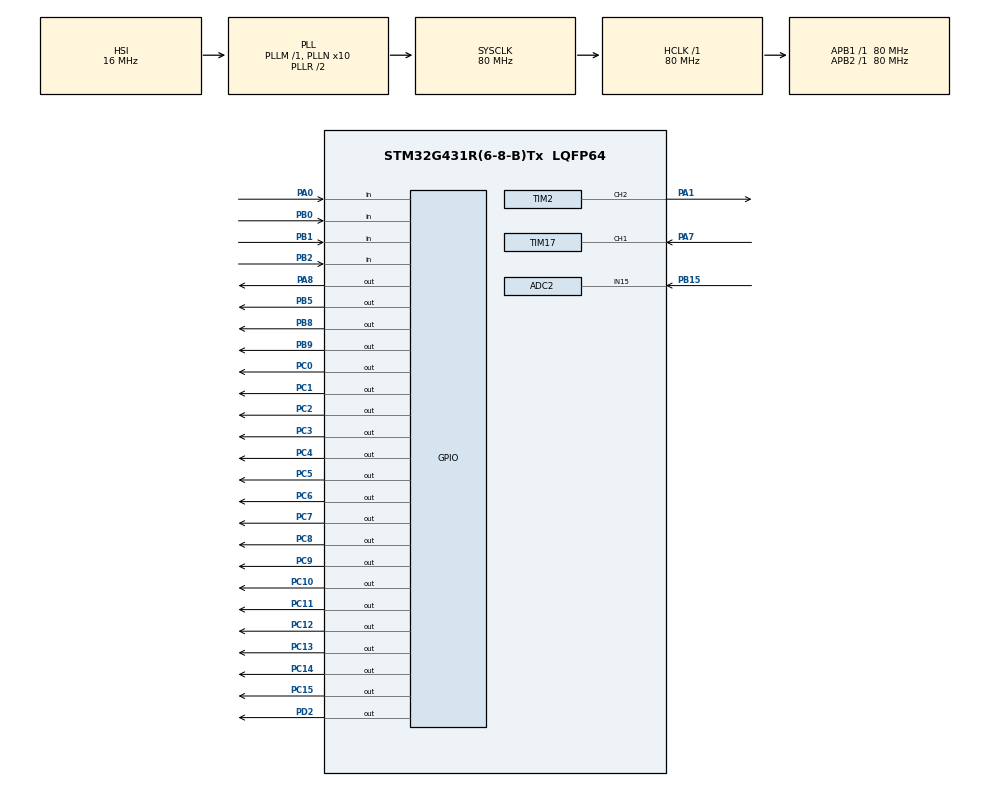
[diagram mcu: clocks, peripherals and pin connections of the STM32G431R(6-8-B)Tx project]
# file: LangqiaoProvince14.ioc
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ADC2.Channel-0\#ChannelRegularConversion=ADC_CHANNEL_15
ADC2.NbrOfConversionFlag=1
ADC2.OffsetNumber-0\#ChannelRegularConversion=ADC_OFFSET_NONE
ADC2.Rank-0\#ChannelRegularConversion=1
ADC2.SamplingTime-0\#ChannelRegularConversion=ADC_SAMPLETIME_2CYCLES_5
Mcu.Family=STM32G4
Mcu.Name=STM32G431R(6-8-B)Tx
Mcu.Package=LQFP64
NVIC.PriorityGroup=NVIC_PRIORITYGROUP_4
NVIC.TIM1_TRG_COM_TIM17_IRQn=true\:0\:0\:false\:false\:true\:true\:true\:true
NVIC.TIM1_UP_TIM16_IRQn=true\:0\:0\:false\:false\:true\:true\:true\:true
NVIC.TIM6_DAC_IRQn=true\:0\:0\:false\:false\:true\:true\:true\:true
NVIC.TIM7_IRQn=true\:0\:0\:false\:false\:true\:true\:true\:true
PA0.GPIO_PuPd=GPIO_PULLUP
PA0.Signal=GPIO_Input
PA1.Signal=S_TIM2_CH2
PA13.Mode=Serial_Wire
PA13.Signal=SYS_JTMS-SWDIO
PA14.Mode=Serial_Wire
PA14.Signal=SYS_JTCK-SWCLK
PA7.Signal=S_TIM17_CH1
PA8.Signal=GPIO_Output
PB0.GPIO_PuPd=GPIO_PULLUP
PB0.Signal=GPIO_Input
PB1.GPIO_PuPd=GPIO_PULLUP
PB1.Signal=GPIO_Input
PB15.Mode=IN15-Single-Ended
PB15.Signal=ADC2_IN15
PB2.GPIO_PuPd=GPIO_PULLUP
PB2.Signal=GPIO_Input
PB5.Signal=GPIO_Output
PB8-BOOT0.Signal=GPIO_Output
PB9.Signal=GPIO_Output
PC0.Signal=GPIO_Output
PC1.Signal=GPIO_Output
PC10.GPIO_PuPd=GPIO_PULLUP
PC10.PinState=GPIO_PIN_SET
PC10.Signal=GPIO_Output
PC11.GPIO_PuPd=GPIO_PULLUP
PC11.PinState=GPIO_PIN_SET
PC11.Signal=GPIO_Output
PC12.GPIO_PuPd=GPIO_PULLUP
PC12.PinState=GPIO_PIN_SET
PC12.Signal=GPIO_Output
PC13.GPIO_PuPd=GPIO_PULLUP
PC13.PinState=GPIO_PIN_SET
PC13.Signal=GPIO_Output
PC14-OSC32_IN.GPIO_PuPd=GPIO_PULLUP
PC14-OSC32_IN.PinState=GPIO_PIN_SET
PC14-OSC32_IN.Signal=GPIO_Output
PC15-OSC32_OUT.GPIO_PuPd=GPIO_PULLUP
PC15-OSC32_OUT.PinState=GPIO_PIN_SET
PC15-OSC32_OUT.Signal=GPIO_Output
PC2.Signal=GPIO_Output
PC3.Signal=GPIO_Output
PC4.Signal=GPIO_Output
PC5.Signal=GPIO_Output
PC6.Signal=GPIO_Output
PC7.Signal=GPIO_Output
PC8.GPIO_PuPd=GPIO_PULLUP
PC8.PinState=GPIO_PIN_SET
PC8.Signal=GPIO_Output
PC9.GPIO_PuPd=GPIO_PULLUP
PC9.PinState=GPIO_PIN_SET
PC9.Signal=GPIO_Output
PD2.Signal=GPIO_Output
PF0-OSC_IN.Mode=HSE-External-Oscillator
PF0-OSC_IN.Signal=RCC_OSC_IN
PF1-OSC_OUT.Mode=HSE-External-Oscillator
PF1-OSC_OUT.Signal=RCC_OSC_OUT
ProjectManager.HeapSize=0x200
ProjectManager.StackSize=0x400
ProjectManager.TargetToolchain=MDK-ARM V5.32
RCC.ADC12Freq_Value=80000000
RCC.AHBFreq_Value=80000000
RCC.APB1Freq_Value=80000000
RCC.APB1TimFreq_Value=80000000
RCC.APB2Freq_Value=80000000
RCC.APB2TimFreq_Value=80000000
RCC.CortexFreq_Value=80000000
RCC.EXTERNAL_CLOCK_VALUE=12288000
RCC.HCLKFreq_Value=80000000
RCC.HSE_VALUE=8000000
RCC.HSI48_VALUE=48000000
RCC.HSI_VALUE=16000000
RCC.LSE_VALUE=32768
RCC.PLLN=10
RCC.SYSCLKFreq_VALUE=80000000
RCC.SYSCLKSource=RCC_SYSCLKSOURCE_PLLCLK
RCC.USBFreq_Value=80000000
RCC.VCOOutputFreq_Value=160000000
SH.S_TIM17_CH1.0=TIM17_CH1,Input_Capture1_from_TI1
SH.S_TIM2_CH2.0=TIM2_CH2,PWM Generation2 CH2
TIM16.PeriodNoDither=800-1
TIM16.Prescaler=1000-1
TIM17.Channel=TIM_CHANNEL_1
TIM17.Prescaler=80-1
TIM2.Channel-PWM\ Generation2\ CH2=TIM_CHANNEL_2
TIM2.PeriodNoDither=100-1
TIM2.Prescaler=200-1
TIM2.PulseNoDither_2=10
TIM6.PeriodNoDither=800-1
TIM6.Prescaler=1000-1
TIM7.PeriodNoDither=8000-1
TIM7.Prescaler=1000-1
VP_SYS_VS_DBSignals.Mode=DisableDeadBatterySignals
VP_TIM16_VS_ClockSourceINT.Mode=Enable_Timer
VP_TIM17_VS_ClockSourceINT.Mode=Enable_Timer
VP_TIM2_VS_ClockSourceINT.Mode=Internal
VP_TIM6_VS_ClockSourceINT.Mode=Enable_Timer
VP_TIM7_VS_ClockSourceINT.Mode=Enable_Timer
board=custom

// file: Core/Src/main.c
/* USER CODE BEGIN Header */
/**
  ******************************************************************************
  * @file           : main.c
  * @brief          : Main program body
  ******************************************************************************
  * @attention
  *
  * Copyright (c) 2024 STMicroelectronics.
  * All rights reserved.
  *
  * This software is licensed under terms that can be found in the LICENSE file
  * in the root directory of this software component.
  * If no LICENSE file comes with this software, it is provided AS-IS.
  *
  ******************************************************************************
  */
/* USER CODE END Header */
#include "main.h"
#include "adc.h"
#include "tim.h"
#include "gpio.h"

/* USER CODE BEGIN Includes */
#include "led.h"
#include "lcd.h"
#include "stdio.h"
#include "string.h"
#include "interrupt.h"
#include "adc_operate.h"
/* USER CODE END Includes */

/* USER CODE BEGIN PD */
void lcd_proc(void);
void key_proc(void);
void GetDuty(void);
void Led_Proc(void);

extern struct keys Key[];
extern int freq;
extern uchar Change_Mod;
extern uchar disp;
extern uchar led2_on;
extern double MH,ML,V;

uchar view=0;  //0:数据页面 1:参数页面 2:统计页面
extern char mod;
extern uchar R,K; //参数
uchar choose='R'; //改变的参数
uchar lock=0; //是否锁定duty

uchar duty=10; //输出的占空比
int N = 0;
/* USER CODE END PD */

void SystemClock_Config(void);

int main(void)
{

  /* MCU Configuration--------------------------------------------------------*/

  /* Reset of all peripherals, Initializes the Flash interface and the Systick. */
  HAL_Init();

  /* Configure the system clock */
  SystemClock_Config();

  /* Initialize all configured peripherals */
  MX_GPIO_Init();
  MX_TIM16_Init();
  MX_ADC2_Init();
  MX_TIM17_Init();
  MX_TIM6_Init();
  MX_TIM2_Init();
  MX_TIM7_Init();
  /* USER CODE BEGIN 2 */
	LCD_Init();
	LED_Disp(0x00);
	LCD_Clear(Black);
	LCD_SetBackColor(Black);
	LCD_SetTextColor(White);

	HAL_TIM_PWM_Start(&htim2,TIM_CHANNEL_2);

	HAL_TIM_Base_Start_IT(&htim16);
	HAL_TIM_Base_Start_IT(&htim7);
	HAL_TIM_IC_Start_IT(&htim17,TIM_CHANNEL_1);
  /* USER CODE END 2 */

  /* Infinite loop */
  /* USER CODE BEGIN WHILE */
  while (1)
  {
		GetDuty();
		key_proc();
		lcd_proc();
		Led_Proc();
    /* USER CODE END WHILE */

  }
}

void SystemClock_Config(void)
{
  RCC_OscInitTypeDef RCC_OscInitStruct = {0};
  RCC_ClkInitTypeDef RCC_ClkInitStruct = {0};

  /** Configure the main internal regulator output voltage
  */
  HAL_PWREx_ControlVoltageScaling(PWR_REGULATOR_VOLTAGE_SCALE1);

  /** Initializes the RCC Oscillators according to the specified parameters
  * in the RCC_OscInitTypeDef structure.
  */
  RCC_OscInitStruct.OscillatorType = RCC_OSCILLATORTYPE_HSI;
  RCC_OscInitStruct.HSIState = RCC_HSI_ON;
  RCC_OscInitStruct.HSICalibrationValue = RCC_HSICALIBRATION_DEFAULT;
  RCC_OscInitStruct.PLL.PLLState = RCC_PLL_ON;
  RCC_OscInitStruct.PLL.PLLSource = RCC_PLLSOURCE_HSI;
  RCC_OscInitStruct.PLL.PLLM = RCC_PLLM_DIV1;
  RCC_OscInitStruct.PLL.PLLN = 10;
  RCC_OscInitStruct.PLL.PLLP = RCC_PLLP_DIV2;
  RCC_OscInitStruct.PLL.PLLQ = RCC_PLLQ_DIV2;
  RCC_OscInitStruct.PLL.PLLR = RCC_PLLR_DIV2;
  if (HAL_RCC_OscConfig(&RCC_OscInitStruct) != HAL_OK)
  {
    Error_Handler();
  }

  /** Initializes the CPU, AHB and APB buses clocks
  */
  RCC_ClkInitStruct.ClockType = RCC_CLOCKTYPE_HCLK|RCC_CLOCKTYPE_SYSCLK
                              |RCC_CLOCKTYPE_PCLK1|RCC_CLOCKTYPE_PCLK2;
  RCC_ClkInitStruct.SYSCLKSource = RCC_SYSCLKSOURCE_PLLCLK;
  RCC_ClkInitStruct.AHBCLKDivider = RCC_SYSCLK_DIV1;
  RCC_ClkInitStruct.APB1CLKDivider = RCC_HCLK_DIV1;
  RCC_ClkInitStruct.APB2CLKDivider = RCC_HCLK_DIV1;

  if (HAL_RCC_ClockConfig(&RCC_ClkInitStruct, FLASH_LATENCY_2) != HAL_OK)
  {
    Error_Handler();
  }
}

/* USER CODE BEGIN 4 */
void GetDuty(void)
{
	if(!lock)
	{
		double V = GetADCValue(&hadc2);
		if(V<=1) duty=10;
		else if(V>3) duty=85;
		else duty=(uchar)(37.5*V-27.5);
		__HAL_TIM_SetCompare(&htim2,TIM_CHANNEL_2,duty);
	}
}
void key_proc(void)
{
	if(Key[0].single_flag==1)
	{
		view++;
		if(view==3) view=0;
		if(view==1) choose='R';
		Key[0].single_flag=0;
		LCD_Clear(Black);
	}
	if(Key[1].single_flag==1)
	{
		if(view==0) //切换模式
		{
			if(Change_Mod) //在5秒外
			{
				if(mod=='H')
				{
					mod='L';
				}
				else
				{
					mod='H';
				}
				N+=1;
				Change_Mod = 0; //禁止改变
				HAL_TIM_Base_Start_IT(&htim6); //计时5秒
			}
		}
		if(view==1) //切换选择常数
		{
			if(choose=='R')
			{
				choose='K';
			}
			else
			{
				choose='R';
			}
		}
		Key[1].single_flag=0;
	}
	if(Key[2].single_flag==1)
	{
		if(view==1) //加键
		{
			if(choose=='R')
			{
				R+=1;
				if(R==11) R=1;
			}
			else
			{
				K+=1;
				if(K==11) K=1;
			}
		}
		Key[2].single_flag=0;
	}
	if(Key[3].single_flag==1)
	{
		if(view==0)
		{
			if(lock) //如果锁定duty,解锁
			{
				lock=!lock;
			}
		}
		if(view==1) //减键
		{
			if(choose=='R')
			{
				R-=1;
				if(R==0) R=10;
			}
			else
			{
				K-=1;
				if(K==0) K=10;
			}
		}
		Key[3].single_flag=0;
	}
	if(Key[3].long_flag==1) //锁定键
	{
		if(view==0)
		{
			lock=1;
		}
		Key[3].long_flag=0;
	}
}
void lcd_proc(void)
{
	char text[30];
	if (view==0)
	{
		sprintf(text,"        DATA    ");
		LCD_DisplayStringLine(Line2, (unsigned char *)text);
		sprintf(text,"     M=%c    ",mod);
		LCD_DisplayStringLine(Line4, (unsigned char *)text);
		sprintf(text,"     P=%d%c    ",duty,'%');
		LCD_DisplayStringLine(Line5, (unsigned char *)text);
		sprintf(text,"     V=%.1f    ",V);
		LCD_DisplayStringLine(Line6, (unsigned char *)text);

//		sprintf(text,"     ADC=%f    ",GetADCValue(&hadc2));
//		LCD_DisplayStringLine(Line7, (unsigned char *)text);
//		sprintf(text,"     freq=%d    ",freq);
//		LCD_DisplayStringLine(Line7, (unsigned char *)text);
//		sprintf(text,"     ChangeMod=%d    ",Change_Mod);
//		LCD_DisplayStringLine(Line7, (unsigned char *)text);
	}
	else if(view==1)
	{
		sprintf(text,"        PARA    ");
		LCD_DisplayStringLine(Line2, (unsigned char *)text);
		sprintf(text,"     R=%d    ",R);
		LCD_DisplayStringLine(Line4, (unsigned char *)text);
		sprintf(text,"     K=%d    ",K);
		LCD_DisplayStringLine(Line5, (unsigned char *)text);
	}
	else
	{
		sprintf(text,"        RECD    ");
		LCD_DisplayStringLine(Line2, (unsigned char *)text);
		sprintf(text,"     N=%d    ",N);
		LCD_DisplayStringLine(Line4, (unsigned char *)text);
		sprintf(text,"     MH=%.1f    ",MH);
		LCD_DisplayStringLine(Line5, (unsigned char *)text);
		sprintf(text,"     ML=%.1f    ",ML);
		LCD_DisplayStringLine(Line6, (unsigned char *)text);
	}
}

void Led_Proc(void)
{
	if(view==0) disp|=0x01;
	else disp&=~0x01;
	led2_on=!Change_Mod;
	if(lock) disp|=0x04;
	else disp&=~0x04;
}

/* USER CODE END 4 */

void Error_Handler(void)
{
  __disable_irq();
  while (1)
  {
  }
}
